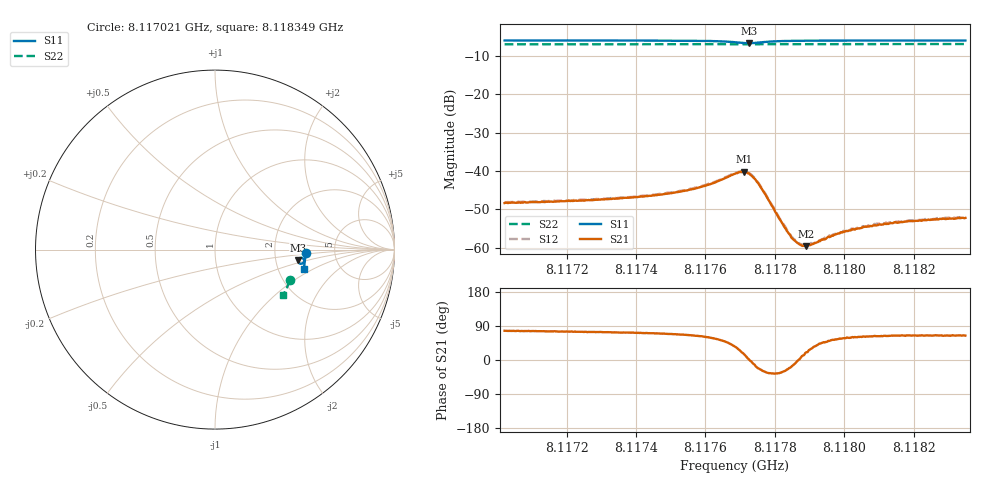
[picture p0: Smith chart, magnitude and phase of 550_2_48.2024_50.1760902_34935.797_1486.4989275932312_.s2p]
#  HZ  S  RI  R  50.00
! Rohde & Schwarz Vector Network Analyzer
! Rohde-Schwarz,ZNB20-2Port,1311601062101988,3.16
! Created: UTC 3/20/2024, 12:00:45 PM
! freq[Hz]  re:S11  im:S11  re:S21  im:S21  re:S12  im:S12  re:S22  im:S22
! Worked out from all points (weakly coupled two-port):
!   401 points, 8.117021 GHz to 8.118349 GHz, reference 50 ohm
!   highest |S21| = -40.17 dB at 8.117712 GHz (marker M1); lowest = -59.6 dB at 8.117891 GHz (marker M2)
!   lowest |S11| = -6.6 dB at 8.117725 GHz (marker M3), VSWR 2.74, Z = 134 - j20.3 ohm
!   |S11| at or under -10 dB: nowhere
!   |S22| runs from -6.9 to -6.8 dB; largest |S21 - S12| = 0.00032
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8.117021e9  0.5064 -0.0171  0.000843 0.00373  0.000926 0.0038  0.4183 -0.17
8.1172435e9  0.505 -0.0349  0.0011 0.00397  0.00119 0.00406  0.4127 -0.1845
8.1173796e9  0.5034 -0.0466  0.00136 0.00428  0.00147 0.00433  0.409 -0.1933
8.117466e9  0.5018 -0.0547  0.00167 0.00461  0.00175 0.00472  0.4066 -0.1988
8.1175424e9  0.4993 -0.063  0.00222 0.00509  0.00228 0.00515  0.4043 -0.2037
8.1175922e9  0.4957 -0.0693  0.00295 0.00556  0.00305 0.00566  0.4027 -0.207
8.1176852e9  0.4737 -0.0783  0.00755 0.00531  0.00776 0.00537  0.3989 -0.2128
8.1177117e9  0.4629 -0.0685  0.00948 0.00253  0.00965 0.00247  0.3978 -0.2138
8.117725e9  0.462 -0.0595  0.00934 0.000333  0.00946 0.000289  0.3975 -0.2142
8.1177383e9  0.4659 -0.0513  0.00808 -0.00147  0.00831 -0.00158  0.3972 -0.2148
8.1177582e9  0.476 -0.0456  0.00569 -0.00266  0.0058 -0.00276  0.3972 -0.2157
8.117828e9  0.4954 -0.0559  0.00161 -0.000902  0.00169 -0.00098  0.3959 -0.2205
8.1178479e9  0.497 -0.0594  0.00128 -0.000405  0.00131 -0.000483  0.3954 -0.2219
8.1178711e9  0.498 -0.0632  0.0011 3.93e-05  0.00113 7.43e-05  0.3947 -0.2235
8.1178911e9  0.4986 -0.066  0.00098 0.000368  0.00101 0.000367  0.394 -0.2247
8.1179077e9  0.4987 -0.0682  0.000951 0.000573  0.00098 0.000549  0.3936 -0.2257
8.1179508e9  0.4989 -0.0733  0.000904 0.00101  0.000916 0.00102  0.3922 -0.2287
8.1179973e9  0.4987 -0.0782  0.000861 0.00135  0.00089 0.0014  0.3906 -0.2315
8.1180936e9  0.4977 -0.0873  0.000892 0.00173  0.00096 0.00183  0.3875 -0.2375
8.1181302e9  0.4973 -0.0903  0.000921 0.00186  0.000941 0.00191  0.3861 -0.2397
8.1181866e9  0.4964 -0.0951  0.000941 0.00203  0.000996 0.00201  0.3842 -0.2433
8.1183494e9  0.4938 -0.1079  0.00106 0.0022  0.0011 0.00226  0.3782 -0.2531
